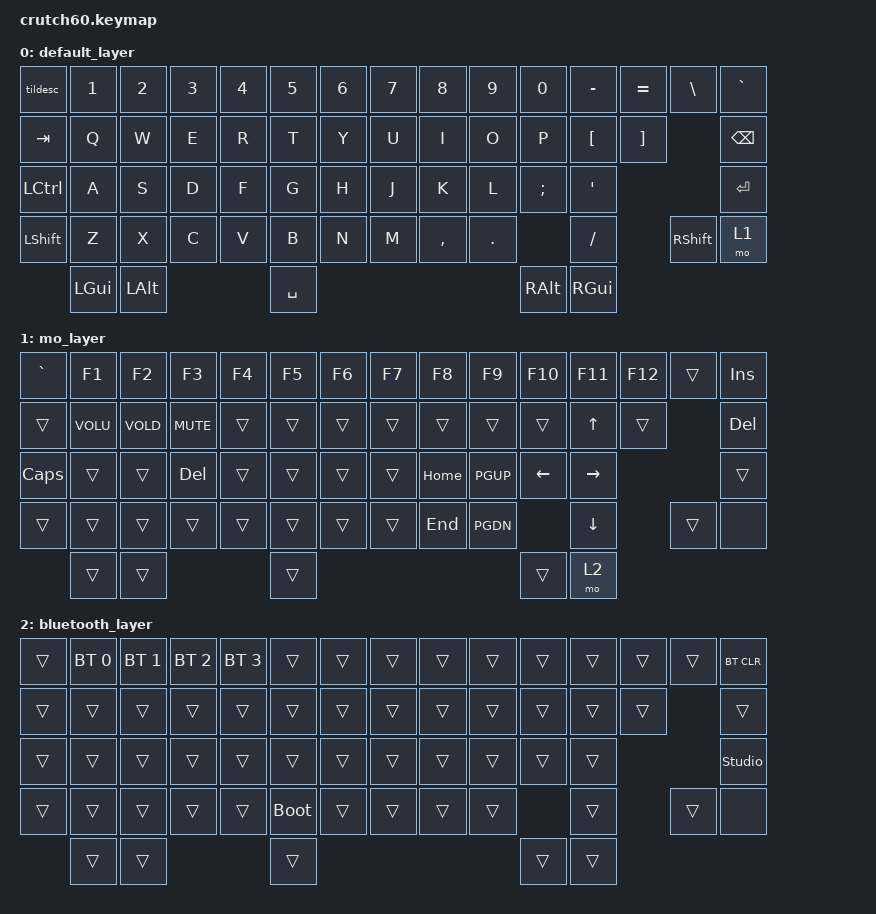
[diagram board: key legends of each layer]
/*
 * Copyright (c) 2020 The ZMK Contributors
 *
 * SPDX-License-Identifier: MIT
 */

#include <behaviors.dtsi>
#include <dt-bindings/zmk/bt.h>
#include <dt-bindings/zmk/keys.h>
#include <dt-bindings/zmk/outputs.h>


/ {
    behaviors {
        tildesc: grave_escape {
            compatible = "zmk,behavior-mod-morph";
            #binding-cells = <0>;
            bindings = <&kp ESC>, <&kp TILDE>;
            mods = <(MOD_LSFT|MOD_RSFT)>;
            display-name = "Tilde/Escape";
        };
    };

    keymap {
        compatible = "zmk,keymap";

        default_layer {
            bindings = <
    &tildesc  &kp N1 &kp N2 &kp N3 &kp N4 &kp N5 &kp N6 &kp N7 &kp N8 &kp N9 &kp N0 &kp MINUS &kp EQUAL &kp BSLH  &kp GRAVE
    &kp TAB   &kp Q  &kp W  &kp E  &kp R  &kp T  &kp Y  &kp U  &kp I  &kp O  &kp P  &kp LBKT  &kp RBKT            &kp BSPC
    &kp LCTRL &kp A  &kp S  &kp D  &kp F  &kp G  &kp H  &kp J  &kp K  &kp L  &kp SEMI &kp SQT                     &kp RET
    &kp LSHFT &kp Z  &kp X  &kp C  &kp V  &kp B  &kp N  &kp M  &kp COMMA &kp DOT &kp FSLH               &kp RSHFT &mo 1
              &kp LGUI &kp LALT             &kp SPACE                     &kp RALT  &kp RGUI
                        >;
        };

        mo_layer {
            bindings = <

    &kp GRAVE &kp F1   &kp F2   &kp F3  &kp F4 &kp F5 &kp F6 &kp F7 &kp F8    &kp F9   &kp F10   &kp F11 &kp F12  &trans &kp INS
    &trans    &kp VOLU &kp VOLD &kp K_MUTE &trans &trans &trans &trans &trans &trans   &trans    &kp UP  &trans          &kp DEL
    &kp CAPS  &trans   &trans   &kp DEL &trans &trans &trans &trans &kp HOME  &kp PGUP &kp LEFT  &kp RIGHT               &trans
    &trans    &trans   &trans   &trans  &trans &trans &trans &trans &kp END   &kp PGDN &kp DOWN                   &trans  &none
              &trans   &trans         &trans                                                   &trans &mo 2

                        >;
    };

        bluetooth_layer {
            bindings = <
    &trans &bt BT_SEL 0 &bt BT_SEL 1 &bt BT_SEL 2 &bt BT_SEL 3 &trans    &trans &trans &trans &trans &trans &trans &trans &trans &bt BT_CLR
    &trans &trans       &trans       &trans       &trans       &trans    &trans &trans &trans &trans &trans &trans &trans &trans
    &trans &trans       &trans       &trans       &trans       &trans    &trans &trans &trans &trans &trans &trans                 &studio_unlock
    &trans &trans       &trans       &trans       &trans       &bootloader &trans &trans &trans &trans &trans               &trans &none
           &trans       &trans       &trans                                                   &trans &trans
            >;

        };
    };
};
